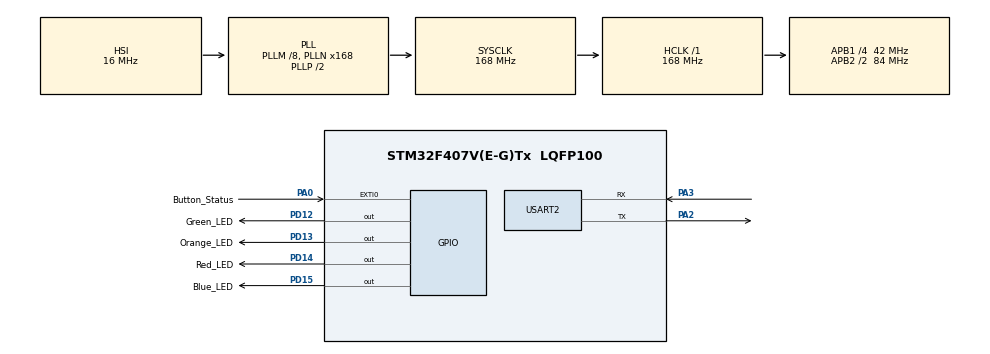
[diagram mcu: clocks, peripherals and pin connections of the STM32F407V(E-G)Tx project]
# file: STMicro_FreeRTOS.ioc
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Mcu.Family=STM32F4
Mcu.Name=STM32F407V(E-G)Tx
Mcu.Package=LQFP100
NVIC.EXTI0_IRQn=true\:14\:0\:true\:false\:true\:true\:true\:true
NVIC.PriorityGroup=NVIC_PRIORITYGROUP_4
NVIC.TIM6_DAC_IRQn=true\:15\:0\:false\:false\:true\:false\:true\:true
NVIC.TimeBase=TIM6_DAC_IRQn
NVIC.TimeBaseIP=TIM6
NVIC.USART2_IRQn=true\:6\:0\:true\:false\:true\:true\:true\:true
PA0-WKUP.GPIO_Label=Button_Status
PA0-WKUP.GPIO_ModeDefaultEXTI=GPIO_MODE_IT_FALLING
PA0-WKUP.Signal=GPXTI0
PA2.Mode=Asynchronous
PA2.Signal=USART2_TX
PA3.Mode=Asynchronous
PA3.Signal=USART2_RX
PD12.GPIO_Label=Green_LED
PD12.Signal=GPIO_Output
PD13.GPIO_Label=Orange_LED
PD13.Signal=GPIO_Output
PD14.GPIO_Label=Red_LED
PD14.Signal=GPIO_Output
PD15.GPIO_Label=Blue_LED
PD15.Signal=GPIO_Output
ProjectManager.HeapSize=0x200
ProjectManager.StackSize=0x400
ProjectManager.TargetToolchain=STM32CubeIDE
RCC.48MHZClocksFreq_Value=84000000
RCC.AHBFreq_Value=168000000
RCC.APB1CLKDivider=RCC_HCLK_DIV4
RCC.APB1Freq_Value=42000000
RCC.APB1TimFreq_Value=84000000
RCC.APB2CLKDivider=RCC_HCLK_DIV2
RCC.APB2Freq_Value=84000000
RCC.APB2TimFreq_Value=168000000
RCC.CortexFreq_Value=168000000
RCC.HCLKFreq_Value=168000000
RCC.HSE_VALUE=25000000
RCC.HSI_VALUE=16000000
RCC.LSE_VALUE=32768
RCC.PLLM=8
RCC.PLLN=168
RCC.SYSCLKFreq_VALUE=168000000
RCC.SYSCLKSource=RCC_SYSCLKSOURCE_PLLCLK
RCC.VCOOutputFreq_Value=336000000
RTC.HourFormat=RTC_HOURFORMAT_12
USART2.VirtualMode=VM_ASYNC
VP_RTC_VS_RTC_Activate.Mode=RTC_Enabled
VP_SYS_VS_tim6.Mode=TIM6
board=STM32F407G-DISC1

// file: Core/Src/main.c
/* USER CODE BEGIN Header */
/**
  ******************************************************************************
  * @file           : main.c
  * @brief          : Main program body
  ******************************************************************************
  * @attention
  *
  * Copyright (c) 2026 STMicroelectronics.
  * All rights reserved.
  *
  * This software is licensed under terms that can be found in the LICENSE file
  * in the root directory of this software component.
  * If no LICENSE file comes with this software, it is provided AS-IS.
  *
  ******************************************************************************
  */
/* USER CODE END Header */
#include "main.h"

/* USER CODE BEGIN Includes */
#include <stdio.h>
#include "FreeRTOS.h"
#include "task.h"
#include "queue.h"
#include "Controlling.h"
/* USER CODE END Includes */

/* USER CODE BEGIN PM */
#define DWT_CTRL (*(volatile uint32_t*) 0xE0001000)
/* USER CODE END PM */

RTC_HandleTypeDef hrtc;

UART_HandleTypeDef huart2;

/* USER CODE BEGIN PV */
TaskHandle_t main_menu_handle, receive_command_handle, print_data_handle, led_menu_handle, rtc_menu_handle;
QueueHandle_t send_queue, receive_queue;
TimerHandle_t led_timer_handle[4];

volatile uint8_t User_Input;
/* USER CODE END PV */

void SystemClock_Config(void);
static void MX_GPIO_Init(void);
static void MX_USART2_UART_Init(void);
static void MX_RTC_Init(void);
void LED_Timer_Call_Back(TimerHandle_t xTimer);

int main(void)
{

  /* USER CODE BEGIN 1 */
  BaseType_t Task_status;
  uint8_t i=0;
  /* USER CODE END 1 */

  /* MCU Configuration--------------------------------------------------------*/

  /* Reset of all peripherals, Initializes the Flash interface and the Systick. */
  HAL_Init();

  /* Configure the system clock */
  SystemClock_Config();

  /* Initialize all configured peripherals */
  MX_GPIO_Init();
  MX_USART2_UART_Init();
  MX_RTC_Init();
  /* USER CODE BEGIN 2 */

  DWT_CTRL |= 1;

  Task_status = xTaskCreate(vMain_Menu,"Main Menu Task",200,NULL,2,&main_menu_handle);
  configASSERT(Task_status == pdPASS);

  Task_status = xTaskCreate(vReceive_Command,"Receive Command Task",200,NULL,2,&receive_command_handle);
  configASSERT(Task_status == pdPASS);

  Task_status = xTaskCreate(vPrint_Data,"Print Data Task",250,NULL,2,&print_data_handle);
  configASSERT(Task_status == pdPASS);

  Task_status = xTaskCreate(vLED_Menu,"LED Task",200,NULL,2,&led_menu_handle);
  configASSERT(Task_status == pdPASS);

//  Task_status = xTaskCreate(vRTC_Menu,"RTC Menu Task",200,NULL,2,&rtc_menu_handle);
//  configASSERT(Task_status == pdPASS);

  send_queue = xQueueCreate(20, sizeof(char*));
  configASSERT(send_queue != NULL);

  receive_queue = xQueueCreate(10, sizeof(uint8_t));
  configASSERT(receive_queue != NULL);

  for(i=0; i<4; i++)
	 led_timer_handle[i] = xTimerCreate("LED Timer", pdMS_TO_TICKS(500), pdTRUE, (void *)(i+1), LED_Timer_Call_Back);

  HAL_UART_Receive_IT(&huart2, (uint8_t*)&User_Input, 1);

  vTaskStartScheduler();

  /* USER CODE END 2 */

  /* Infinite loop */
  while (1)
  {
	  HAL_Delay(1);
  }
}

void SystemClock_Config(void)
{
  RCC_OscInitTypeDef RCC_OscInitStruct = {0};
  RCC_ClkInitTypeDef RCC_ClkInitStruct = {0};

  /** Configure the main internal regulator output voltage
  */
  __HAL_RCC_PWR_CLK_ENABLE();
  __HAL_PWR_VOLTAGESCALING_CONFIG(PWR_REGULATOR_VOLTAGE_SCALE1);

  /** Initializes the RCC Oscillators according to the specified parameters
  * in the RCC_OscInitTypeDef structure.
  */
  RCC_OscInitStruct.OscillatorType = RCC_OSCILLATORTYPE_HSI|RCC_OSCILLATORTYPE_LSI;
  RCC_OscInitStruct.HSIState = RCC_HSI_ON;
  RCC_OscInitStruct.HSICalibrationValue = RCC_HSICALIBRATION_DEFAULT;
  RCC_OscInitStruct.LSIState = RCC_LSI_ON;
  RCC_OscInitStruct.PLL.PLLState = RCC_PLL_ON;
  RCC_OscInitStruct.PLL.PLLSource = RCC_PLLSOURCE_HSI;
  RCC_OscInitStruct.PLL.PLLM = 8;
  RCC_OscInitStruct.PLL.PLLN = 168;
  RCC_OscInitStruct.PLL.PLLP = RCC_PLLP_DIV2;
  RCC_OscInitStruct.PLL.PLLQ = 4;
  if (HAL_RCC_OscConfig(&RCC_OscInitStruct) != HAL_OK)
  {
    Error_Handler();
  }

  /** Initializes the CPU, AHB and APB buses clocks
  */
  RCC_ClkInitStruct.ClockType = RCC_CLOCKTYPE_HCLK|RCC_CLOCKTYPE_SYSCLK
                              |RCC_CLOCKTYPE_PCLK1|RCC_CLOCKTYPE_PCLK2;
  RCC_ClkInitStruct.SYSCLKSource = RCC_SYSCLKSOURCE_PLLCLK;
  RCC_ClkInitStruct.AHBCLKDivider = RCC_SYSCLK_DIV1;
  RCC_ClkInitStruct.APB1CLKDivider = RCC_HCLK_DIV4;
  RCC_ClkInitStruct.APB2CLKDivider = RCC_HCLK_DIV2;

  if (HAL_RCC_ClockConfig(&RCC_ClkInitStruct, FLASH_LATENCY_5) != HAL_OK)
  {
    Error_Handler();
  }
}

static void MX_RTC_Init(void)
{

  /** Initialize RTC Only
  */
  hrtc.Instance = RTC;
  hrtc.Init.HourFormat = RTC_HOURFORMAT_12;
  hrtc.Init.AsynchPrediv = 127;
  hrtc.Init.SynchPrediv = 255;
  hrtc.Init.OutPut = RTC_OUTPUT_DISABLE;
  hrtc.Init.OutPutPolarity = RTC_OUTPUT_POLARITY_HIGH;
  hrtc.Init.OutPutType = RTC_OUTPUT_TYPE_OPENDRAIN;
  if (HAL_RTC_Init(&hrtc) != HAL_OK)
  {
    Error_Handler();
  }

}

static void MX_USART2_UART_Init(void)
{

  huart2.Instance = USART2;
  huart2.Init.BaudRate = 115200;
  huart2.Init.WordLength = UART_WORDLENGTH_8B;
  huart2.Init.StopBits = UART_STOPBITS_1;
  huart2.Init.Parity = UART_PARITY_NONE;
  huart2.Init.Mode = UART_MODE_TX_RX;
  huart2.Init.HwFlowCtl = UART_HWCONTROL_NONE;
  huart2.Init.OverSampling = UART_OVERSAMPLING_16;
  if (HAL_UART_Init(&huart2) != HAL_OK)
  {
    Error_Handler();
  }

}

static void MX_GPIO_Init(void)
{
  GPIO_InitTypeDef GPIO_InitStruct = {0};

  /* GPIO Ports Clock Enable */
  __HAL_RCC_GPIOA_CLK_ENABLE();
  __HAL_RCC_GPIOD_CLK_ENABLE();

  /*Configure GPIO pin Output Level */
  HAL_GPIO_WritePin(GPIOD, Green_LED_Pin|Orange_LED_Pin|Red_LED_Pin|Blue_LED_Pin, GPIO_PIN_RESET);

  /*Configure GPIO pin : Button_Status_Pin */
  GPIO_InitStruct.Pin = Button_Status_Pin;
  GPIO_InitStruct.Mode = GPIO_MODE_IT_FALLING;
  GPIO_InitStruct.Pull = GPIO_NOPULL;
  HAL_GPIO_Init(Button_Status_GPIO_Port, &GPIO_InitStruct);

  /*Configure GPIO pins : Green_LED_Pin Orange_LED_Pin Red_LED_Pin Blue_LED_Pin */
  GPIO_InitStruct.Pin = Green_LED_Pin|Orange_LED_Pin|Red_LED_Pin|Blue_LED_Pin;
  GPIO_InitStruct.Mode = GPIO_MODE_OUTPUT_PP;
  GPIO_InitStruct.Pull = GPIO_NOPULL;
  GPIO_InitStruct.Speed = GPIO_SPEED_FREQ_LOW;
  HAL_GPIO_Init(GPIOD, &GPIO_InitStruct);

  /* EXTI interrupt init*/
  HAL_NVIC_SetPriority(EXTI0_IRQn, 14, 0);
  HAL_NVIC_EnableIRQ(EXTI0_IRQn);

}

void HAL_TIM_PeriodElapsedCallback(TIM_HandleTypeDef *htim)
{
  if (htim->Instance == TIM6)
  {
    HAL_IncTick();
  }
}

void Error_Handler(void)
{
  __disable_irq();
  while (1)
  {
  }
}
